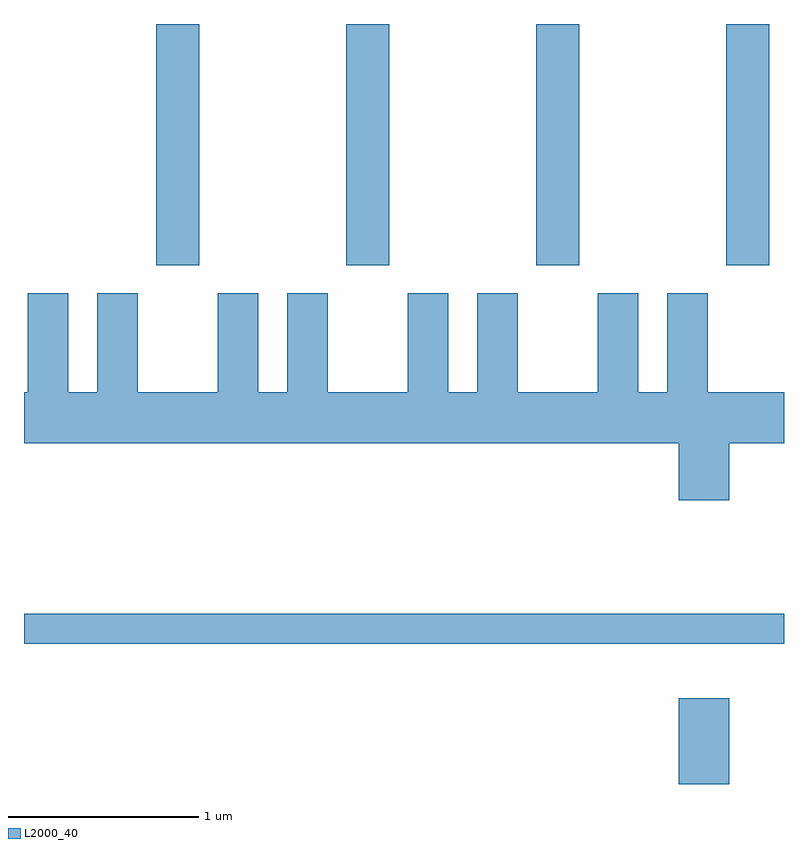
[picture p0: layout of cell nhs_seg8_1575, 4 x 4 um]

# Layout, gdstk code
import gdstk
lib = gdstk.Library(unit=1e-6, precision=1e-09)
def R(c, l, rs):  # rectangles x0, y0, x1, y1
    for r in rs: c.add(gdstk.rectangle(r[:2], r[2:], *l))
def A(c, l, x, y, w, h, nx, ny, dx, dy):  # array of equal rectangles
    R(c, l, [(x+i*dx, y+j*dy, x+i*dx+w, y+j*dy+h) for i in range(nx) for j in range(ny)])
def P(c, l, *ps):  # polygons
    for p in ps: c.add(gdstk.Polygon(p, *l))
L2000_40 = (2000, 40)

nhs_seg8_1575 = lib.new_cell('nhs_seg8_1575')
A(nhs_seg8_1575, L2000_40, 232.306, 1895.071, 0.228, 1.271, 4, 1, 1, 0)
R(nhs_seg8_1575, L2000_40, [(235.056,1892.342,235.324,1892.794), (231.611,1893.081,235.611,1893.239)])
P(nhs_seg8_1575, L2000_40, [(235.324,1894.136),(235.611,1894.136),(235.611,1894.404),(235.209,1894.404),(235.209,1894.924),(234.996,1894.924),(234.996,1894.404),(234.844,1894.404),(234.844,1894.924),(234.631,1894.924),(234.631,1894.404),(234.209,1894.404),(234.209,1894.924),(233.996,1894.924),(233.996,1894.404),(233.844,1894.404),(233.844,1894.924),(233.631,1894.924),(233.631,1894.404),(233.209,1894.404),(233.209,1894.924),(232.996,1894.924),(232.996,1894.404),(232.844,1894.404),(232.844,1894.924),(232.631,1894.924),(232.631,1894.404),(232.209,1894.404),(232.209,1894.924),(231.996,1894.924),(231.996,1894.404),(231.844,1894.404),(231.844,1894.924),(231.631,1894.924),(231.631,1894.404),(231.611,1894.404),(231.611,1894.136),(235.056,1894.136),(235.056,1893.836),(235.324,1893.836)])

lib.write_gds('nhs_seg8_1575.gds')
